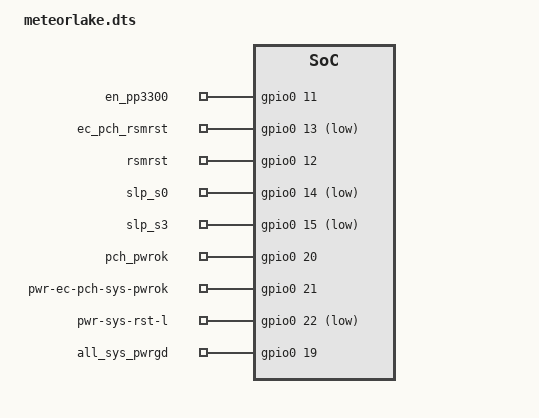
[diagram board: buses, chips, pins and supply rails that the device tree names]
/* Copyright 2023 The ChromiumOS Authors
 * Use of this source code is governed by a BSD-style license that can be
 * found in the LICENSE file.
 */

#include <dt-bindings/gpio_defines.h>

/ {
	common-pwrseq {
		compatible = "intel,ap-pwrseq";
		s5-inactivity-timeout = <1>;
		all-sys-pwrgd-timeout = <50>;
	};

	en_pp3300: pwr-en-pp3300-s5 {
		compatible = "intel,ap-pwrseq-gpio";
		dbg-label = "PP3300_S5 enable output to LS";
		enum-name = "PWR_EN_PP3300_A";
		gpios = <&gpio0 11 0>;
		output;
	};
	ec_pch_rsmrst: pwr-ec-pch-rsmrst-odl {
		compatible = "intel,ap-pwrseq-gpio";
		dbg-label = "RSMRST output to PCH";
		enum-name = "PWR_EC_PCH_RSMRST";
		gpios = <&gpio0 13 GPIO_ACTIVE_LOW>;
		reset-val = <1>;
		output;
	};
	rsmrst: pwr-pg-ec-rsmrst-odl {
		compatible = "intel,ap-pwrseq-gpio";
		dbg-label = "RSMRST power good from regulator";
		enum-name = "PWR_RSMRST_PWRGD";
		gpios = <&gpio0 12 0>;
		interrupt-flags = <GPIO_INT_EDGE_BOTH>;
	};
	slp_s0: pwr-slp-s0-l {
		compatible = "intel,ap-pwrseq-gpio";
		dbg-label = "SLP_S0_L input from PCH";
		enum-name = "PWR_SLP_S0";
		gpios = <&gpio0 14 GPIO_ACTIVE_LOW>;
		interrupt-flags = <GPIO_INT_EDGE_BOTH>;
		no-enable;
	};
	slp_s3: pwr-slp-s3-l {
		compatible = "intel,ap-pwrseq-gpio";
		dbg-label = "SLP_S3_L input from PCH";
		enum-name = "PWR_SLP_S3";
		gpios = <&gpio0 15 GPIO_ACTIVE_LOW>;
		interrupt-flags = <GPIO_INT_EDGE_BOTH>;
	};
	pch_pwrok: pwr-pch-pwrok {
		compatible = "intel,ap-pwrseq-gpio";
		dbg-label = "PCH_PWROK output to PCH";
		enum-name = "PWR_PCH_PWROK";
		gpios = <&gpio0 20 0>;
		output;
	};
	pwr-ec-pch-sys-pwrok {
		compatible = "intel,ap-pwrseq-gpio";
		dbg-label = "SYS_PWROK output to PCH";
		enum-name = "PWR_EC_PCH_SYS_PWROK";
		gpios = <&gpio0 21 0>;
		output;
	};
	pwr-sys-rst-l {
		compatible = "intel,ap-pwrseq-gpio";
		dbg-label = "SYS_RESET# output to PCH";
		enum-name = "PWR_SYS_RST";
		gpios = <&gpio0 22 GPIO_ACTIVE_LOW>;
		output;
	};
	slp_s4: pwr-slp-s4 {
		compatible = "intel,ap-pwrseq-vw";
		dbg-label = "SLP_S4 virtual wire input from PCH";
		enum-name = "PWR_SLP_S4";
		virtual-wire = "ESPI_VWIRE_SIGNAL_SLP_S4";
		vw-invert;
	};
	slp_s5: pwr-slp-s5 {
		compatible = "intel,ap-pwrseq-vw";
		dbg-label = "SLP_S5 virtual wire input from PCH";
		enum-name = "PWR_SLP_S5";
		virtual-wire = "ESPI_VWIRE_SIGNAL_SLP_S5";
		vw-invert;
	};
	all_sys_pwrgd: pwr-all-sys-pwrgd {
		compatible = "intel,ap-pwrseq-gpio";
		dbg-label = "Combined all power good";
		enum-name = "PWR_ALL_SYS_PWRGD";
		gpios = <&gpio0 19 0>;
	};
	en_pp3300_emul: en-pp3300-emul {
		compatible = "intel,ap-pwr-signal-emul";
		input-signal = <&en_pp3300>;
		init-value = <0>;
		pp3300-rsmrst-emul {
			output-signal = <&rsmrst>;
			assert-delay-ms = <10>;
			init-value= <0>;
		};
	};

	ec_pch_rsmrst_emul: ec-pch-rsmrst-emul {
		compatible = "intel,ap-pwr-signal-emul";
		input-signal = <&ec_pch_rsmrst>;
		init-value = <1>;
		ec-pch-rsmrst-slp-s5-emul {
			output-signal = <&slp_s5>;
			deassert-delay-ms = <20>;
			init-value= <1>;
		};
		ec-pch-rsmrst-slp-s4-emul {
			output-signal = <&slp_s4>;
			deassert-delay-ms = <30>;
			init-value= <1>;
		};
		ec-pch-rsmrst-slp-s3-emul {
			output-signal = <&slp_s3>;
			deassert-delay-ms = <40>;
			init-value= <1>;
		};
		ec-pch-rsmrst-slp-s0-emul {
			output-signal = <&slp_s0>;
			deassert-delay-ms = <45>;
			init-value= <1>;
		};
		ec-pch-rsmrst-all-sys-pwrgd {
			output-signal = <&all_sys_pwrgd>;
			deassert-delay-ms = <50>;
			init-value= <0>;
			invert-value;
		};
	};

	tp-sys-g3-to-s0 {
		compatible = "intel,ap-pwr-test-platform";
		nodes = <&en_pp3300_emul &ec_pch_rsmrst_emul>;
	};

	pch_pwrok_power_fail_emul: pch-pwrok-power-fail-emul {
		compatible = "intel,ap-pwr-signal-emul";
		input-signal = <&pch_pwrok>;
		init-value = <0>;
		edge = "EDGE_ACTIVE_ON_ASSERT";
		pch-pwrok-rsmrst-emul {
			output-signal = <&rsmrst>;
			assert-delay-ms = <60>;
			invert-value;
		};
	};

	tp-sys-s0-power-fail {
		compatible = "intel,ap-pwr-test-platform";
		nodes = <&pch_pwrok_power_fail_emul>;
	};

	pch_pwrok_power_down_emul: pch-pwrok-power-down-emul {
		compatible = "intel,ap-pwr-signal-emul";
		input-signal = <&pch_pwrok>;
		init-value = <0>;
		edge = "EDGE_ACTIVE_ON_ASSERT";
		pch_pwrok-rsmrst-emul {
			output-signal = <&rsmrst>;
			assert-delay-ms = <90>;
		};

		pch-pwrok-slp-s5-emul {
			output-signal = <&slp_s5>;
			assert-delay-ms = <60>;
		};

		pch-pwrok-slp-s4-emul {
			output-signal = <&slp_s4>;
			assert-delay-ms = <40>;
		};

		pch-pwrok-slp-s3-emul {
			output-signal = <&slp_s3>;
			assert-delay-ms = <20>;
		};

		pch-pwrok-slp-s0-emul {
			output-signal = <&slp_s0>;
			assert-delay-ms = <15>;
		};
	};

	tp-sys-g3-to-s0-power-down {
		compatible = "intel,ap-pwr-test-platform";
		nodes = <&en_pp3300_emul &ec_pch_rsmrst_emul
			      &pch_pwrok_power_down_emul>;
	};

	ec_pch_rsmrst_s3_rsmrst_deassert_emul:
		ec-pch-rsmrst-s3-rsmrst-deassert-emul {
		compatible = "intel,ap-pwr-signal-emul";
		input-signal = <&ec_pch_rsmrst>;
		init-value = <1>;
		edge = "EDGE_ACTIVE_ON_DEASSERT";
		ec-pch-rsmrst-slp-s5-emul {
			output-signal = <&slp_s5>;
			deassert-delay-ms = <20>;
			init-value= <1>;
		};
		ec-pch-rsmrst-slp-s4-emul {
			output-signal = <&slp_s4>;
			deassert-delay-ms = <30>;
			init-value= <1>;
		};
		ec-pch-rsmrst-slp-s3-emul {
			output-signal = <&slp_s3>;
			deassert-delay-ms = <40>;
			init-value= <1>;
		};
		ec-pch-rsmrst-slp-s3-deassert-emul {
			output-signal = <&slp_s3>;
			deassert-delay-ms = <60>;
			invert-value;
		};
		pch_pch-rsmrst-rsmrst-deassert-emul {
			output-signal = <&rsmrst>;
			deassert-delay-ms = <100>;
		};
	};

	tp-sys-s3-rsmrst-fail {
		compatible = "intel,ap-pwr-test-platform";
		nodes = <&en_pp3300_emul
				&ec_pch_rsmrst_s3_rsmrst_deassert_emul>;
	};

	pch_sleep: pch-sleep {
		compatible = "intel,ap-pwr-signal-emul";
		input-signal = <&pch_pwrok>;

		slp-s0-suspend-emul {
			output-signal = <&slp_s0>;
			init-value=<1>;
		};
	};

	tp-sys-sleep {
		compatible = "intel,ap-pwr-test-platform";
		nodes = <&pch_sleep>;
	};

	pch_wake: pch-wake {
		compatible = "intel,ap-pwr-signal-emul";
		input-signal = <&pch_pwrok>;

		slp-s0-resume-emul {
			output-signal = <&slp_s0>;
			init-value=<0>;
		};
	};

	tp-sys-wake {
		compatible = "intel,ap-pwr-test-platform";
		nodes = <&pch_wake>;
	};
};
